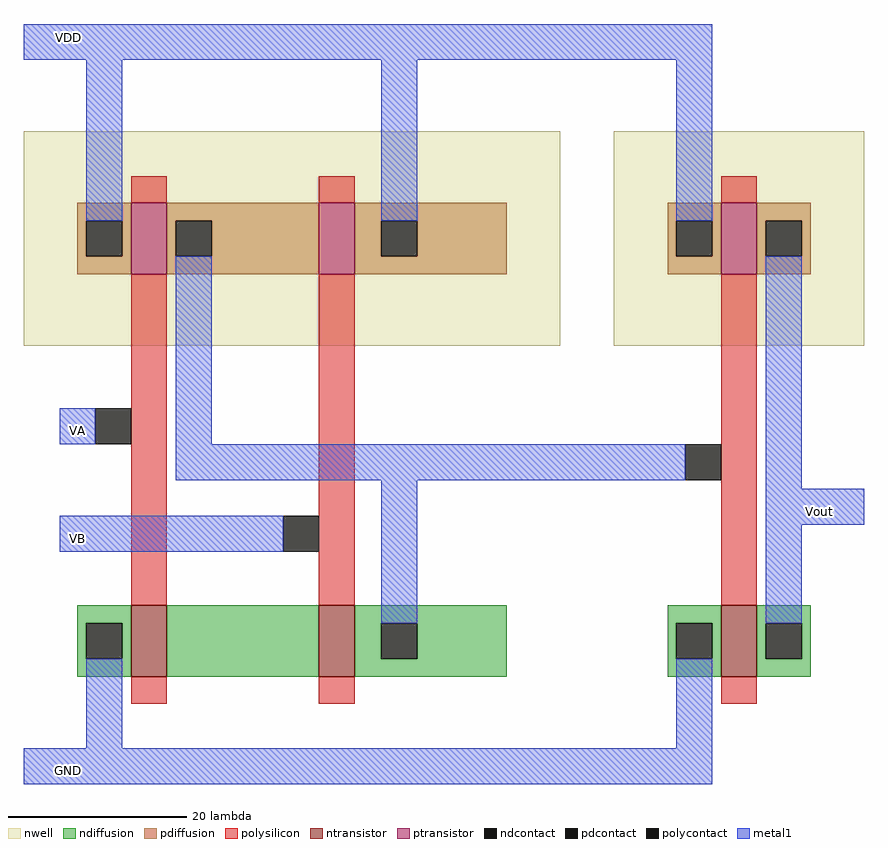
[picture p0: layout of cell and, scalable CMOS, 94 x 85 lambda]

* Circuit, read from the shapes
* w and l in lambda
.subckt and GND VA VB VDD Vout
M1 n1 VA GND VSUBS nfet w=8 l=4
M2 n2 VB n1 VSUBS nfet w=8 l=4
M3 Vout n2 GND VSUBS nfet w=8 l=4
M4 n2 VA VDD n3 pfet w=8 l=4
M5 VDD VB n2 n3 pfet w=8 l=4
M6 Vout n2 VDD n4 pfet w=8 l=4
.ends

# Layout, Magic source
magic
tech scmos
<< nwell >>
rect -2 0 58 24
rect 64 0 92 24
<< ntransistor >>
rect 10 -37 14 -29
rect 31 -37 35 -29
rect 76 -37 80 -29
<< ptransistor >>
rect 10 8 14 16
rect 31 8 35 16
rect 76 8 80 16
<< ndiffusion >>
rect 4 -31 10 -29
rect 4 -35 5 -31
rect 9 -35 10 -31
rect 4 -37 10 -35
rect 14 -37 31 -29
rect 35 -31 52 -29
rect 35 -35 38 -31
rect 42 -35 52 -31
rect 35 -37 52 -35
rect 70 -31 76 -29
rect 70 -35 71 -31
rect 75 -35 76 -31
rect 70 -37 76 -35
rect 80 -31 86 -29
rect 80 -35 81 -31
rect 85 -35 86 -31
rect 80 -37 86 -35
<< pdiffusion >>
rect 4 14 10 16
rect 4 10 5 14
rect 9 10 10 14
rect 4 8 10 10
rect 14 14 31 16
rect 14 10 15 14
rect 19 10 31 14
rect 14 8 31 10
rect 35 14 52 16
rect 35 10 38 14
rect 42 10 52 14
rect 35 8 52 10
rect 70 14 76 16
rect 70 10 71 14
rect 75 10 76 14
rect 70 8 76 10
rect 80 14 86 16
rect 80 10 81 14
rect 85 10 86 14
rect 80 8 86 10
<< ndcontact >>
rect 5 -35 9 -31
rect 38 -35 42 -31
rect 71 -35 75 -31
rect 81 -35 85 -31
<< pdcontact >>
rect 5 10 9 14
rect 15 10 19 14
rect 38 10 42 14
rect 71 10 75 14
rect 81 10 85 14
<< polysilicon >>
rect 10 16 14 19
rect 31 16 35 19
rect 76 16 80 19
rect 10 -29 14 8
rect 31 -29 35 8
rect 76 -29 80 8
rect 10 -40 14 -37
rect 31 -40 35 -37
rect 76 -40 80 -37
<< polycontact >>
rect 6 -11 10 -7
rect 27 -23 31 -19
rect 72 -15 76 -11
<< metal1 >>
rect -2 32 75 36
rect 5 14 9 32
rect 38 14 42 32
rect 71 14 75 32
rect 2 -11 6 -7
rect 15 -11 19 10
rect 15 -15 72 -11
rect 2 -23 27 -19
rect 38 -31 42 -15
rect 81 -16 85 10
rect 81 -20 92 -16
rect 81 -31 85 -20
rect 5 -45 9 -35
rect 71 -45 75 -35
rect -2 -49 75 -45
<< labels >>
rlabel metal1 86 -19 88 -18 7 Vout
rlabel metal1 2 34 4 35 4 VDD
rlabel metal1 2 -48 4 -47 2 GND
rlabel metal1 3 -10 5 -9 1 VA
rlabel metal1 3 -22 5 -21 1 VB
<< end >>
